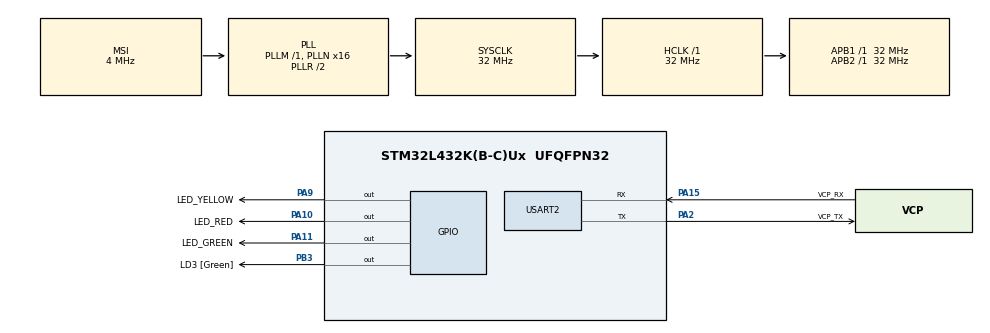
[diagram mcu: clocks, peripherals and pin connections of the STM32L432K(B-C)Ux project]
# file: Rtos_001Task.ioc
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Mcu.Family=STM32L4
Mcu.Name=STM32L432K(B-C)Ux
Mcu.Package=UFQFPN32
NVIC.PriorityGroup=NVIC_PRIORITYGROUP_4
NVIC.TIM6_DAC_IRQn=true\:15\:0\:false\:false\:true\:false\:true\:true
NVIC.TimeBase=TIM6_DAC_IRQn
NVIC.TimeBaseIP=TIM6
PA0.GPIO_Label=MCO [High speed clock in]
PA0.Signal=RCC_CK_IN
PA10.GPIO_Label=LED_RED
PA10.Signal=GPIO_Output
PA11.GPIO_Label=LED_GREEN
PA11.Signal=GPIO_Output
PA13\ (JTMS-SWDIO).GPIO_Label=SWDIO
PA13\ (JTMS-SWDIO).Signal=SYS_JTMS-SWDIO
PA14\ (JTCK-SWCLK).GPIO_Label=SWCLK
PA14\ (JTCK-SWCLK).Signal=SYS_JTCK-SWCLK
PA15\ (JTDI).GPIO_Label=VCP_RX
PA15\ (JTDI).Mode=Asynchronous
PA15\ (JTDI).Signal=USART2_RX
PA2.GPIO_Label=VCP_TX
PA2.Mode=Asynchronous
PA2.Signal=USART2_TX
PA9.GPIO_Label=LED_YELLOW
PA9.Signal=GPIO_Output
PB3\ (JTDO-TRACESWO).GPIO_Label=LD3 [Green]
PB3\ (JTDO-TRACESWO).Signal=GPIO_Output
PC14-OSC32_IN\ (PC14).Signal=RCC_OSC32_IN
PC15-OSC32_OUT\ (PC15).Signal=RCC_OSC32_OUT
ProjectManager.HeapSize=0x200
ProjectManager.StackSize=0x400
ProjectManager.TargetToolchain=STM32CubeIDE
RCC.AHBFreq_Value=32000000
RCC.APB1Freq_Value=32000000
RCC.APB1TimFreq_Value=32000000
RCC.APB2Freq_Value=32000000
RCC.APB2TimFreq_Value=32000000
RCC.CortexFreq_Value=32000000
RCC.HCLKFreq_Value=32000000
RCC.HSE_VALUE=8000000
RCC.HSI16_VALUE=16000000
RCC.HSI48_VALUE=48000000
RCC.HSI_VALUE=16000000
RCC.LSE_VALUE=32768
RCC.MSI_VALUE=4000000
RCC.PLLMUL=RCC_PLLMUL_4
RCC.PLLN=16
RCC.SYSCLKFreq_VALUE=32000000
RCC.SYSCLKSource=RCC_SYSCLKSOURCE_PLLCLK
RCC.VCOOutputFreq_Value=64000000
USART2.VirtualMode-Asynchronous=VM_ASYNC
VP_SYS_VS_tim6.Mode=TIM6
board=NUCLEO-L432KC

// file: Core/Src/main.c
/* USER CODE BEGIN Header */
/**
 ******************************************************************************
 * @file           : main.c
 * @brief          : Main program body
 ******************************************************************************
 * @attention
 *
 * Copyright (c) 2025 STMicroelectronics.
 * All rights reserved.
 *
 * This software is licensed under terms that can be found in the LICENSE file
 * in the root directory of this software component.
 * If no LICENSE file comes with this software, it is provided AS-IS.
 *
 ******************************************************************************
 */
/* USER CODE END Header */
#include "main.h"

/* USER CODE BEGIN Includes */
#include"FreeRTOS.h"
#include"task.h"
#include"stdio.h"
/* USER CODE END Includes */

UART_HandleTypeDef huart2;

/* USER CODE BEGIN PV */
#ifdef _GNUC_
/* With GCC/RAISONANCE, small printf (option LD Linker->Libraries->Small printf
 set to 'Yes') calls __io_putchar() */
#define PUTCHAR_PROTOTYPE int __io_putchar(int ch)
#else
#define PUTCHAR_PROTOTYPE int fputc(int ch, FILE *f)
#endif /* _GNUC_ */

PUTCHAR_PROTOTYPE {
	/* Place your implementation of fputc here */
	/* e.g. write a character to the USART2 and Loop until the end of transmission */
	HAL_UART_Transmit(&huart2, (uint8_t*) &ch, 1, 0xFFFF);
	return ch;
}
/* USER CODE END PV */

void SystemClock_Config(void);
static void MX_GPIO_Init(void);
static void MX_USART2_UART_Init(void);
/* USER CODE BEGIN PFP */

void Led1_GREEN(void *para1);
void Led2_RED(void *para1);
void Led3_YELLOW(void *para1);

uint8_t ucHeap[configTOTAL_HEAP_SIZE];
//TaskFunction_t Task2_handler;
/* USER CODE END PFP */

int main(void) {
	/* USER CODE BEGIN 1 */
	TaskHandle_t redLed_handle, greenLed_handle, yellowLed_handle;
	BaseType_t status;

	/* USER CODE END 1 */

	/* MCU Configuration--------------------------------------------------------*/

	/* Reset of all peripherals, Initializes the Flash interface and the Systick. */
	HAL_Init();

	/* Configure the system clock */
	SystemClock_Config();

	/* Initialize all configured peripherals */
	MX_GPIO_Init();
	MX_USART2_UART_Init();
	/* USER CODE BEGIN 2 */

	//creating task
//  status=xTaskCreate(Task1_handler,"Task1", 200,"Hello from Task1", 2,&Task1_handle);
//  configASSERT(status== pdPASS);
//  xTaskCreate(Task2_handler,"Task2", 200,"Hello from Task2", 2,&Task2_handle);
//  configASSERT(status== pdPASS);
	printf("Hello bro \r\n");
	HAL_UART_Transmit(&huart2, "HELLO\r\n", sizeof("HELLO\r\n"), 1000);
	status = xTaskCreate(Led1_GREEN, "Green LED", 100, NULL, 1,
			&greenLed_handle);
	configASSERT(status== pdPASS);
	status = xTaskCreate(Led2_RED, "Red LED", 100, NULL, 1, &redLed_handle);
	configASSERT(status== pdPASS);
	status = xTaskCreate(Led3_YELLOW, "Yellow LED", 100, NULL, 1,
			&yellowLed_handle);
	configASSERT(status== pdPASS);
	//start the FreeRtos scheduler
	vTaskStartScheduler();

	//if controls come here ,the launch of the scheduler has failed due to in sufficient memory in heap
	printf("The launch of the scheduler has failed\r\n");
	/* USER CODE END 2 */

	/* Infinite loop */
	while (1) {

		/* USER CODE BEGIN 3 */
	}
	(void) status;
	/* USER CODE END 3 */
}

void SystemClock_Config(void) {
	RCC_OscInitTypeDef RCC_OscInitStruct = { 0 };
	RCC_ClkInitTypeDef RCC_ClkInitStruct = { 0 };

	/** Configure the main internal regulator output voltage
	 */
	if (HAL_PWREx_ControlVoltageScaling(PWR_REGULATOR_VOLTAGE_SCALE1)
			!= HAL_OK) {
		Error_Handler();
	}

	/** Initializes the RCC Oscillators according to the specified parameters
	 * in the RCC_OscInitTypeDef structure.
	 */
	RCC_OscInitStruct.OscillatorType = RCC_OSCILLATORTYPE_MSI;
	RCC_OscInitStruct.MSIState = RCC_MSI_ON;
	RCC_OscInitStruct.MSICalibrationValue = 0;
	RCC_OscInitStruct.MSIClockRange = RCC_MSIRANGE_6;
	RCC_OscInitStruct.PLL.PLLState = RCC_PLL_ON;
	RCC_OscInitStruct.PLL.PLLSource = RCC_PLLSOURCE_MSI;
	RCC_OscInitStruct.PLL.PLLM = 1;
	RCC_OscInitStruct.PLL.PLLN = 16;
	RCC_OscInitStruct.PLL.PLLP = RCC_PLLP_DIV7;
	RCC_OscInitStruct.PLL.PLLQ = RCC_PLLQ_DIV2;
	RCC_OscInitStruct.PLL.PLLR = RCC_PLLR_DIV2;
	if (HAL_RCC_OscConfig(&RCC_OscInitStruct) != HAL_OK) {
		Error_Handler();
	}

	/** Initializes the CPU, AHB and APB buses clocks
	 */
	RCC_ClkInitStruct.ClockType = RCC_CLOCKTYPE_HCLK | RCC_CLOCKTYPE_SYSCLK
			| RCC_CLOCKTYPE_PCLK1 | RCC_CLOCKTYPE_PCLK2;
	RCC_ClkInitStruct.SYSCLKSource = RCC_SYSCLKSOURCE_PLLCLK;
	RCC_ClkInitStruct.AHBCLKDivider = RCC_SYSCLK_DIV1;
	RCC_ClkInitStruct.APB1CLKDivider = RCC_HCLK_DIV1;
	RCC_ClkInitStruct.APB2CLKDivider = RCC_HCLK_DIV1;

	if (HAL_RCC_ClockConfig(&RCC_ClkInitStruct, FLASH_LATENCY_1) != HAL_OK) {
		Error_Handler();
	}
}

static void MX_USART2_UART_Init(void) {

	huart2.Instance = USART2;
	huart2.Init.BaudRate = 115200;
	huart2.Init.WordLength = UART_WORDLENGTH_8B;
	huart2.Init.StopBits = UART_STOPBITS_1;
	huart2.Init.Parity = UART_PARITY_NONE;
	huart2.Init.Mode = UART_MODE_TX_RX;
	huart2.Init.HwFlowCtl = UART_HWCONTROL_NONE;
	huart2.Init.OverSampling = UART_OVERSAMPLING_16;
	huart2.Init.OneBitSampling = UART_ONE_BIT_SAMPLE_DISABLE;
	huart2.AdvancedInit.AdvFeatureInit = UART_ADVFEATURE_NO_INIT;
	if (HAL_UART_Init(&huart2) != HAL_OK) {
		Error_Handler();
	}

}

static void MX_GPIO_Init(void) {
	GPIO_InitTypeDef GPIO_InitStruct = { 0 };

	/* GPIO Ports Clock Enable */
	__HAL_RCC_GPIOC_CLK_ENABLE();
	__HAL_RCC_GPIOA_CLK_ENABLE();
	__HAL_RCC_GPIOB_CLK_ENABLE();

	/*Configure GPIO pin Output Level */
	HAL_GPIO_WritePin(GPIOA, LED_YELLOW_Pin | LED_RED_Pin | LED_GREEN_Pin,
			GPIO_PIN_RESET);

	/*Configure GPIO pin Output Level */
	HAL_GPIO_WritePin(LD3_GPIO_Port, LD3_Pin, GPIO_PIN_RESET);

	/*Configure GPIO pins : LED_YELLOW_Pin LED_RED_Pin LED_GREEN_Pin */
	GPIO_InitStruct.Pin = LED_YELLOW_Pin | LED_RED_Pin | LED_GREEN_Pin;
	GPIO_InitStruct.Mode = GPIO_MODE_OUTPUT_PP;
	GPIO_InitStruct.Pull = GPIO_NOPULL;
	GPIO_InitStruct.Speed = GPIO_SPEED_FREQ_LOW;
	HAL_GPIO_Init(GPIOA, &GPIO_InitStruct);

	/*Configure GPIO pin : LD3_Pin */
	GPIO_InitStruct.Pin = LD3_Pin;
	GPIO_InitStruct.Mode = GPIO_MODE_OUTPUT_PP;
	GPIO_InitStruct.Pull = GPIO_NOPULL;
	GPIO_InitStruct.Speed = GPIO_SPEED_FREQ_LOW;
	HAL_GPIO_Init(LD3_GPIO_Port, &GPIO_InitStruct);

}

/* USER CODE BEGIN 4 */
void Led1_GREEN(void *para1) {
	TickType_t xLastWakeTime;
//	const TickType_t xFrequency = pdMS_TO_TICKS(1000);
//	// Initialise the xLastWakeTime variable with the current time.
//	xLastWakeTime = xTaskGetTickCount();

	while (1) {
//		HAL_GPIO_TogglePin(GPIOA, LED_GREEN_Pin);
		printf("Task :led1( green)\r\n");
		HAL_UART_Transmit(&huart2, "Task :led1( green)\r\n",
				sizeof("Task :led1( green)\r\n"), 1000);
		vTaskDelay(pdMS_TO_TICKS(1000)); //this is normal delay
//		vTaskDelayUntil(&xLastWakeTime, xFrequency); // this delay is to achive periodicity
	}
}
void Led2_RED(void *para1) {
//	TickType_t xLastWakeTime;
//	const TickType_t xFrequency = pdMS_TO_TICKS(400);
//	// Initialise the xLastWakeTime variable with the current time.
//	xLastWakeTime = xTaskGetTickCount();
	while (1) {
//		HAL_GPIO_TogglePin(GPIOA, LED_RED_Pin);
//		printf("Task :led2(red)\r\n");
		HAL_UART_Transmit(&huart2, "Task :led2(red)\r\n",
				sizeof("Task :led2(red)\r\n"), 1000);
		vTaskDelay(pdMS_TO_TICKS(400));
//		vTaskDelayUntil(&xLastWakeTime, xFrequency); // this delay is to achive periodicity

	}
}
void Led3_YELLOW(void *para1) {
//	TickType_t xLastWakeTime;
//	const TickType_t xFrequency = pdMS_TO_TICKS(800);
//	// Initialise the xLastWakeTime variable with the current time.
//	xLastWakeTime = xTaskGetTickCount();
	while (1) {
//		HAL_GPIO_TogglePin(GPIOA, LED_YELLOW_Pin);
		HAL_UART_Transmit(&huart2, "Task :led3(yellow)\r\n",
				sizeof("Task :led3(yellow)\r\n"), 1000);
//		printf("Task :led3(yellow)\r\n");
		vTaskDelay(pdMS_TO_TICKS(800));
//		vTaskDelayUntil(&xLastWakeTime, xFrequency); // this delay is to achive periodicity

	}
}
/* USER CODE END 4 */

void HAL_TIM_PeriodElapsedCallback(TIM_HandleTypeDef *htim) {
	if (htim->Instance == TIM6) {
		HAL_IncTick();
	}
}

void Error_Handler(void) {
	__disable_irq();
	while (1) {
	}
}
